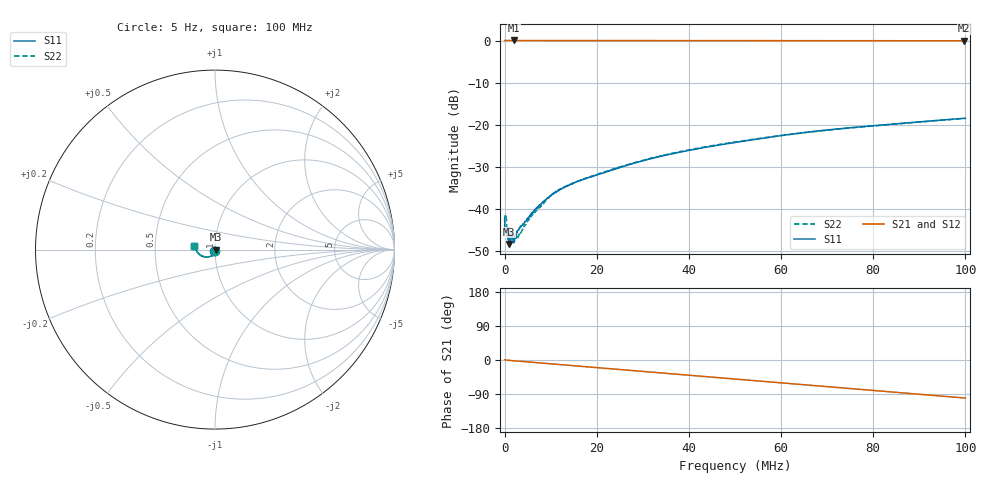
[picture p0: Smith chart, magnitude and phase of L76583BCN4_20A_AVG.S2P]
!Agilent Technologies,E5061B,MY49102235,A.02.00
!Date: Tue Jul 11 17:10:42 2023
!Data & Calibration Information:
!Freq	S11:SOLT2(ON)	S21:SOLT2(ON)	S12:SOLT2(ON)	S22:SOLT2(ON)
# Hz S RI R 50
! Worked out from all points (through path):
!   1600 points, 5 Hz to 100 MHz, reference 50 ohm
!   highest |S21| = 0.02 dB at 2.001 MHz (marker M1); lowest = -0.1 dB at 99.75 MHz (marker M2)
!   group delay of S21, straight-line fit = 2.79 ns
!   lowest |S11| = -48.4 dB at 1.001 MHz (marker M3), VSWR 1.01, Z = 50.4 - j0.0835 ohm
!   |S11| at or under -10 dB: start of sweep to end of sweep
!   |S22| runs from -48.9 to -18.5 dB; largest |S21 - S12| = 0.0028
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5  -0.00522 -0.00565  1.002 0.00794  1.001 0.0103  -0.00149 -0.00756
187622.3  0.00547 -0.000328  1.001 -0.00223  1.001 -0.000907  0.00738 -0.00237
625395.8  0.0051 -0.000679  1.002 -0.0105  1.002 -0.00994  0.00611 -0.00102
1000630  0.00371 -0.000828  1.001 -0.0165  1.001 -0.0158  0.0051 -0.00176
1563482  0.00429 -0.00296  1.001 -0.0265  1.001 -0.0252  0.00309 -0.00355
2001256  0.00296 -0.00291  1.002 -0.0351  1.001 -0.0345  0.00311 -0.00264
2376490  0.00324 -0.0031  1 -0.0415  1 -0.0413  0.00388 -0.00278
3252037  0.00417 -0.00434  0.9996 -0.057  0.9991 -0.0564  0.00308 -0.00384
4690436  0.00365 -0.00618  0.9979 -0.0821  0.9974 -0.0817  0.00335 -0.00586
6003757  0.00323 -0.00814  0.9956 -0.105  0.9954 -0.1044  0.00279 -0.00796
9505946  0.00134 -0.0135  0.9873 -0.1662  0.9872 -0.1655  0.000731 -0.0134
1.156974e7  -0.000176 -0.0164  0.9808 -0.2016  0.9803 -0.201  -0.00108 -0.0165
1.669794e7  -0.00414 -0.0216  0.958 -0.2888  0.9578 -0.2882  -0.00455 -0.0216
2.582865e7  -0.0117 -0.0296  0.8999 -0.4379  0.8996 -0.4373  -0.00969 -0.0308
3.333334e7  -0.0208 -0.0357  0.8341 -0.552  0.834 -0.5513  -0.0195 -0.0368
4.033771e7  -0.0306 -0.0395  0.7599 -0.6496  0.7599 -0.649  -0.0301 -0.0406
5.003127e7  -0.0453 -0.0412  0.6387 -0.7687  0.6387 -0.768  -0.0455 -0.0422
6.672921e7  -0.0751 -0.0346  0.3889 -0.9187  0.3894 -0.9184  -0.0743 -0.0346
8.33646e7  -0.0997 -0.0118  0.1087 -0.9901  0.1089 -0.9899  -0.099 -0.0138
9.155722e7  -0.1095 0.00362  -0.0342 -0.9943  -0.0339 -0.9942  -0.1092 0.000428
9.974984e7  -0.1171 0.0208  -0.1759 -0.978  -0.1753 -0.978  -0.1167 0.0179
1e8  -0.1172 0.0213  -0.1801 -0.9774  -0.1797 -0.9773  -0.117 0.0186
